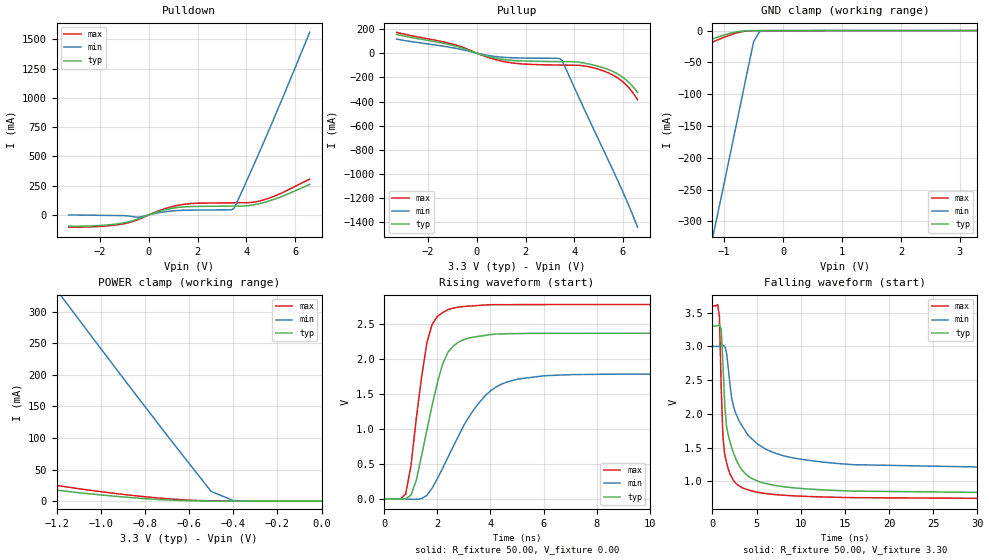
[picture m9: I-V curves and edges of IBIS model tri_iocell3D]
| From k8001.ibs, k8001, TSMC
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|   Model tri_iocell3D
[Model]   tri_iocell3D
Model_type   I/O
Polarity   Non-Inverting
Enable   Active-Low
Vinl =   0.80V
Vinh =   2.00V
Vmeas =  1.50V
C_comp   2.88e-12F   2.92e-12F   2.81e-12F
[Temperature Range]   25   125   0
[Voltage Range]   3.30V   3.00V   3.60V
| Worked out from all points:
|   slope of the pulldown table from 0 to 0.495 V, typ, clamps not added: 14.5 ohm
|   slope of the pullup table from 0 to 0.495 V, typ, clamps not added: 16.8 ohm
|   GND clamp passes 1 mA (typ) near -0.72 V on its own axis
|   POWER clamp passes 1 mA (typ) near -0.62 V on its own axis
|   rising waveform, R_fixture 50.00, V_fixture 0.00: 20-80 % time 853ps typ, 1.6ns min, 571ps max; typ from 0 V to 2.37 V
|   falling waveform, R_fixture 50.00, V_fixture 3.30: 20-80 % time 1.57ns typ, 3.54ns min, 675ps max; typ from 3.3 V to 0.809 V
[POWER_clamp]
| voltage   I(typ)   I(min)   I(max)
-3.3V     141.9mA    1.346A     171.1mA
-2.8V     106.5mA    1.1A       130.9mA
-2.2V     68.84mA    809.5mA    87.34mA
-1.7V     40.97mA    570.3mA    54.16mA
-1.2V     17.45mA    334.7mA    24.93mA
-1.1V     13.49mA    288.1mA    19.82mA
-800mV    4.006mA    149.9mA    7.024mA
-600mV    677.1uA    59.74mA    1.65mA
-500mV    219uA      15.42mA    450uA
-400mV    152.3uA    1.024mA    180.2uA
0V        132.1uA    120.1uA    144.1uA
[GND_clamp]
| voltage   I(typ)   I(min)   I(max)
-3.3V     -87.33mA   -1.184A    -99.61mA
-2.4V     -57.17mA   -832.7mA   -67.66mA
-1.2V     -13.23mA   -328mA     -18.1mA
-1.1V     -9.954mA   -284.1mA   -14.15mA
-800mV    -2.098mA   -150.9mA   -3.891mA
-700mV    -752.3uA   -106.1mA   -1.652mA
-500mV    -47.68uA   -17.6mA    -70.23uA
-400mV    -17.52uA   -1.612mA   -19.91uA
-200mV    -8.157uA   -13.69uA   -8.173uA
3.3V      132.1uA    181.2uA    132.1uA
[Pullup]
| voltage   I(typ)   I(min)   I(max)
-3.3V     155.9mA    116.7mA    172.8mA
-1V       65.31mA    45.32mA    75.49mA
300mV     -18.87mA   -12.8mA    -23.48mA
1.1V      -52.59mA   -34.14mA   -68.56mA
1.9V      -64.63mA   -39.95mA   -89.43mA
3.3V      -69.53mA   -42.71mA   -98.07mA
3.5V      -69.9mA    -59.56mA   -98.65mA
4.4V      -81.69mA   -458.1mA   -104.9mA
5.4V      -135mA     -886.5mA   -162.7mA
5.8V      -174.1mA   -1.06A     -207mA
6.1V      -216.5mA   -1.195A    -256.2mA
6.6V      -324.8mA   -1.44A     -385.2mA
[Pulldown]
| voltage   I(typ)   I(min)   I(max)
-3.3V     -97.2mA    -1.056mA   -105.1mA
-2V       -91.17mA   -4.221mA   -98.61mA
-1V       -67.67mA   -6.83mA    -75mA
-400mV    -31.36mA   -19.78mA   -36.42mA
600mV     39.98mA    24.54mA    48.89mA
1.4V      67.82mA    39.27mA    89.06mA
3.3V      74.34mA    42.63mA    102.8mA
3.5V      74.56mA    57.13mA    103.1mA
4.2V      82.24mA    376.9mA    106mA
4.8V      110.3mA    662mA      133.5mA
5.4V      152.5mA    955mA      182mA
6.6V      259.7mA    1.561A     304.8mA
[Ramp]
| variable   typ   min   max
dV/dt_r   0.01/1.80e-09   0.01/4.58e-10   0.01/5.20e-10
dV/dt_f   1.51/1.55e-09   1.11/3.50e-09   1.73/6.41e-10
R_load = 50.00
[Rising Waveform]
R_fixture = 50.00
V_fixture = 0.00
V_fixture_min = 0.00
V_fixture_max = 0.00
| time   V(typ)   V(min)   V(max)
0s        0V         0V         0V
800ps     722.3uV    -2.948mV   69.42mV
1ns       53.5mV     -6.356mV   472.8mV
1.2ns     262.8mV    -6.958mV   1.146V
1.6ns     982.8mV    49.32mV    2.234V
1.8ns     1.342V     154.1mV    2.499V
2.4ns     2.101V     598.4mV    2.709V
3.8ns     2.339V     1.476V     2.774V
5ns       2.365V     1.71V      2.779V
19.8ns    2.37V      1.786V     2.781V
[Falling Waveform]
R_fixture = 50.00
V_fixture = 3.30
V_fixture_min = 3.00
V_fixture_max = 3.60
| time   V(typ)   V(min)   V(max)
0s        3.3V       3V         3.6V
800ps     3.317V     2.999V     3.441V
1ns       3.251V     3.011V     2.393V
1.2ns     2.73V      3.014V     1.648V
1.4ns     2.135V     3.003V     1.397V
2.2ns     1.491V     2.221V     1.057V
3.4ns     1.159V     1.814V     903.2mV
6.2ns     961.3mV    1.465V     815.7mV
12.8ns    870.9mV    1.28V      766.6mV
50ns      809mV      1.163V     732.3mV
